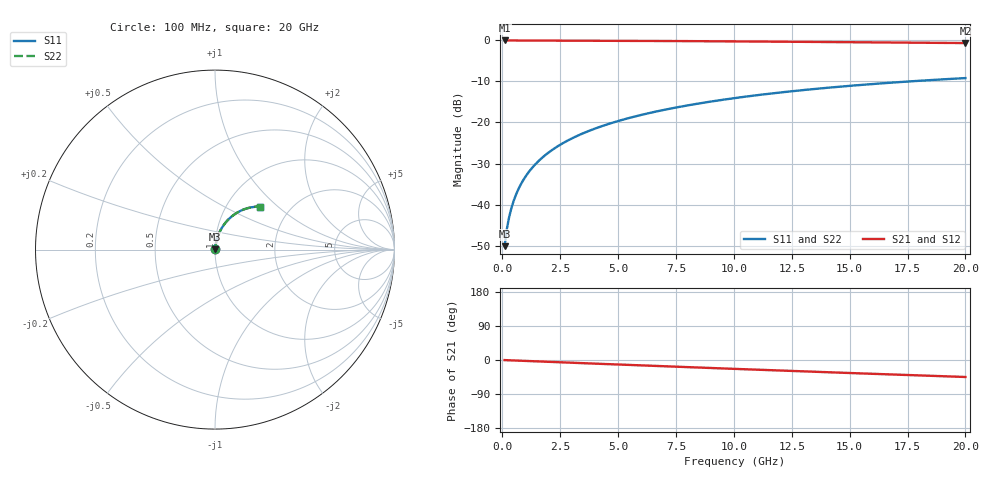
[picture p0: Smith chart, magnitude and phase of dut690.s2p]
! Touchstone file exported from HFSS 2026.1.0
!  File:  C:/ffzhzh/LocalFiles/Ansys_Project_Files/temp_train_BSMRDL_690_1783017704_53980.aedt
!  Generated:  02:43:11 AM Jul  3, 2026
!  Design:  BSMRDL
!  Project:  temp_train_BSMRDL_690_1783017704_53980
! Variables:
!  h_bsmrdl = 5.03um
!  h_ox = 20um
!  h_rdl = 5um
!  h_sub = 80um
!  h_tmrdl = 5um
!  h_tsv = 80um
!  h_via = 3um
!  l_bsmrdl = 693.06um
!  l_sub = 1093.06um
!  l_tmrdl = 200um
!  m_sub = 200um
!  pitch = 52.97um
!  r_tsv = 6um
!  s_tmrdl = 10um
!  w_bsmrdl = 27.71um
!  w_sub = 500um
!  w_tmrdl = 12um
!  x_tsv_center1 = 206um
!  x_tsv_center2 = 926.77um
!  x_tsv_center3 = 1138.77um
!  x_tsv_center4 = 1859.54um
!  x_tsv_center5 = 2071.54um
!  x_tsv_center6 = 2792.31um
# GHz S MA R 50.000000
! Terminal data exported
! Port[1] = BSM_RDL1_1_T1
! Port[2] = BSM_RDL1_1_T2
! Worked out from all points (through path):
!   200 points, 100 MHz to 20 GHz, reference 50 ohm
!   highest |S21| = -0.02 dB at 100 MHz (marker M1); lowest = -0.7 dB at 20 GHz (marker M2)
!   group delay of S21, straight-line fit = 6.22 ps
!   lowest |S11| = -50.1 dB at 100 MHz (marker M3), VSWR 1.01, Z = 50.2 + j0.24 ohm
!   |S11| at or under -10 dB: start of sweep to 17.57 GHz
!   |S22| runs from -50.1 to -9.2 dB; largest |S21 - S12| = 2.7e-15
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0.1  0.003114 50.1  0.998 -0.3  0.998 -0.3  0.003114 50.1
! Gamma 0 0 0 0
! Port Impedance 50 0 50 0
0.2  0.005104 64.4  0.9978 -0.5  0.9978 -0.5  0.005104 64.4
0.3  0.00714 70.6  0.9977 -0.7  0.9977 -0.7  0.00714 70.6
0.4  0.009201 74.1  0.9976 -1.0  0.9976 -1.0  0.009201 74.1
0.5  0.01128 76.4  0.9975 -1.2  0.9975 -1.2  0.01128 76.4
0.7  0.0155 79.0  0.9974 -1.7  0.9974 -1.7  0.0155 79.0
0.8  0.01762 79.7  0.9973 -1.9  0.9973 -1.9  0.01762 79.7
1  0.02187 80.6  0.9971 -2.4  0.9971 -2.4  0.02187 80.6
1.2  0.02613 81.0  0.9969 -2.9  0.9969 -2.9  0.02613 81.0
1.4  0.03038 81.2  0.9967 -3.4  0.9967 -3.4  0.03038 81.2
1.7  0.03674 81.1  0.9963 -4.1  0.9963 -4.1  0.03674 81.1
2  0.04307 80.8  0.9958 -4.8  0.9958 -4.8  0.04307 80.8
2.7  0.05767 79.7  0.9945 -6.5  0.9945 -6.5  0.05767 79.7
3.5  0.07409 78.2  0.9928 -8.4  0.9928 -8.4  0.07409 78.2
4.2  0.08821 76.7  0.9912 -10.0  0.9912 -10.0  0.08821 76.7
5  0.1041 75.0  0.9891 -11.9  0.9891 -11.9  0.1041 75.0
6.8  0.1389 71.2  0.9837 -16.1  0.9837 -16.1  0.1389 71.2
8.3  0.167 68.0  0.9787 -19.5  0.9787 -19.5  0.167 68.0
10.1  0.1993 64.1  0.972 -23.6  0.972 -23.6  0.1993 64.1
13.4  0.2546 57.1  0.9581 -30.9  0.9581 -30.9  0.2547 57.1
16.7  0.3042 50.3  0.9431 -38.0  0.9431 -38.0  0.3042 50.3
20  0.3475 43.6  0.9277 -44.8  0.9277 -44.8  0.3475 43.6
